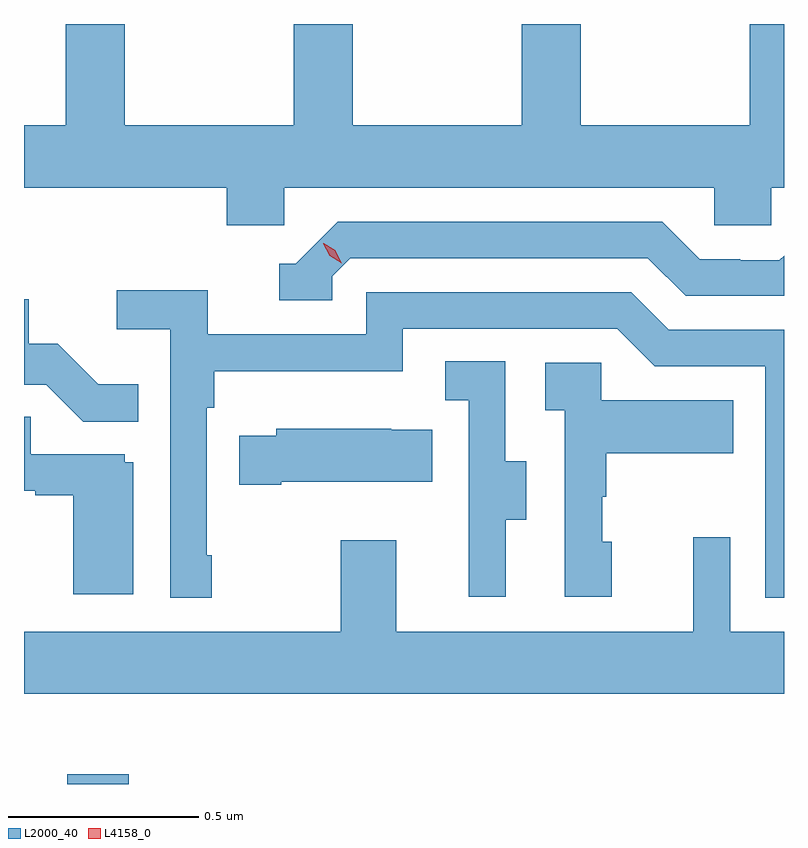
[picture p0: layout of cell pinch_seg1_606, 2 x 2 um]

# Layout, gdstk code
import gdstk
lib = gdstk.Library(unit=1e-6, precision=1e-09)
def R(c, l, rs):  # rectangles x0, y0, x1, y1
    for r in rs: c.add(gdstk.rectangle(r[:2], r[2:], *l))
def P(c, l, *ps):  # polygons
    for p in ps: c.add(gdstk.Polygon(p, *l))
L2000_40 = (2000, 40)
L4158_0 = (4158, 0)

pinch_seg1_606 = lib.new_cell('pinch_seg1_606')
R(pinch_seg1_606, L2000_40, [(1071.311,504.875,1071.472,504.901)])
P(pinch_seg1_606, L2000_40, [(1071.882,506.444),(1073.013,506.444),(1073.013,506.346),(1073.163,506.346),(1073.163,506.444),(1073.197,506.444),(1073.197,506.875),(1073.107,506.875),(1073.107,506.608),(1072.662,506.608),(1072.662,506.875),(1072.507,506.875),(1072.507,506.608),(1072.062,506.608),(1072.062,506.875),(1071.907,506.875),(1071.907,506.608),(1071.462,506.608),(1071.462,506.875),(1071.307,506.875),(1071.307,506.608),(1071.197,506.608),(1071.197,506.444),(1071.731,506.444),(1071.731,506.346),(1071.882,506.346)],
  [(1072.008,506.211),(1072.056,506.259),(1072.839,506.259),(1072.938,506.16),(1073.197,506.16),(1073.197,506.265),(1073.185,506.253),(1073.082,506.253),(1073.082,506.256),(1072.975,506.256),(1072.876,506.355),(1072.023,506.355),(1071.912,506.244),(1071.869,506.244),(1071.869,506.148),(1072.008,506.148)],
  [(1071.691,505.477),(1071.678,505.477),(1071.678,505.865),(1071.698,505.865),(1071.698,505.961),(1072.194,505.961),(1072.194,506.073),(1072.758,506.073),(1072.857,505.974),(1073.148,505.974),(1073.148,505.365),(1073.197,505.365),(1073.197,506.07),(1072.894,506.07),(1072.795,506.169),(1072.098,506.169),(1072.098,506.058),(1071.68,506.058),(1071.68,506.174),(1071.441,506.174),(1071.441,506.072),(1071.582,506.072),(1071.582,505.365),(1071.691,505.365)],
  [(1071.497,505.927),(1071.393,505.927),(1071.286,506.034),(1071.21,506.034),(1071.21,506.151),(1071.197,506.151),(1071.197,505.926),(1071.255,505.926),(1071.353,505.828),(1071.497,505.828)],
  [(1072.465,505.57),(1072.519,505.57),(1072.519,505.725),(1072.464,505.725),(1072.464,505.988),(1072.305,505.988),(1072.305,505.885),(1072.368,505.885),(1072.368,505.581),(1072.367,505.581),(1072.367,505.368),(1072.465,505.368)],
  [(1072.744,505.512),(1072.719,505.512),(1072.719,505.631),(1072.729,505.631),(1072.729,505.745),(1073.063,505.745),(1073.063,505.885),(1072.716,505.885),(1072.716,505.983),(1072.569,505.983),(1072.569,505.859),(1072.62,505.859),(1072.62,505.368),(1072.744,505.368)],
  [(1071.484,505.722),(1071.462,505.722),(1071.462,505.743),(1071.215,505.743),(1071.215,505.841),(1071.197,505.841),(1071.197,505.647),(1071.227,505.647),(1071.227,505.635),(1071.326,505.635),(1071.326,505.374),(1071.484,505.374)],
  [(1071.874,505.67),(1072.271,505.67),(1072.271,505.807),(1072.163,505.807),(1072.163,505.81),(1071.861,505.81),(1071.861,505.792),(1071.763,505.792),(1071.763,505.663),(1071.874,505.663)],
  [(1073.197,505.276),(1073.055,505.276),(1073.055,505.525),(1072.958,505.525),(1072.958,505.276),(1072.177,505.276),(1072.177,505.516),(1072.03,505.516),(1072.03,505.276),(1071.197,505.276),(1071.197,505.112),(1073.197,505.112)])
P(pinch_seg1_606, L4158_0, [(1072.033,506.246),(1072.002,506.265),(1071.985,506.297),(1071.985,506.298),(1071.986,506.298),(1072.016,506.279),(1072.033,506.246),(1072.033,506.246)])

lib.write_gds('pinch_seg1_606.gds')
